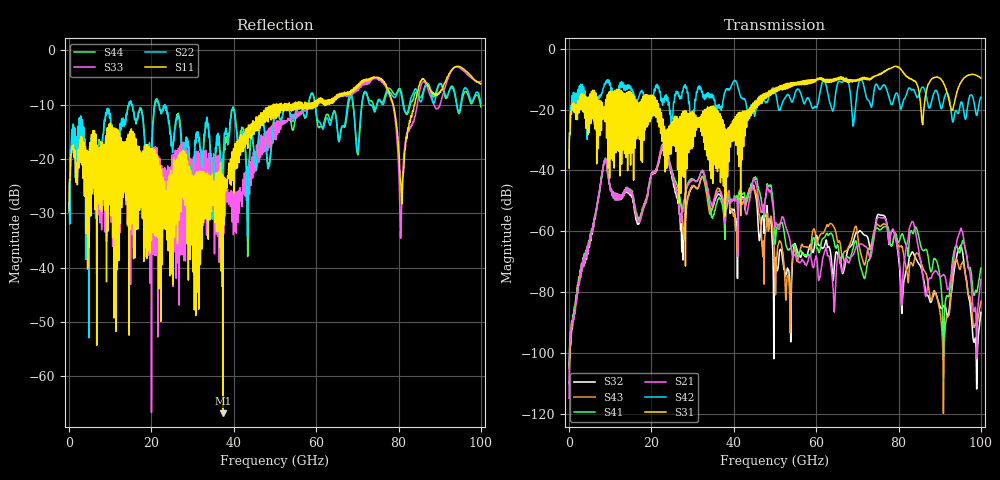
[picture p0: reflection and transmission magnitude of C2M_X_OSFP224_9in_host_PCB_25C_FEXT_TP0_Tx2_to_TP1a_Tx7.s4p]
# GHz S RI R 45
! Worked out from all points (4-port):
!   4000 points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, 25 MHz to 100 GHz, reference 45 ohm
!   strongest paths, dB at 25 MHz, 25.02 GHz, 50.02 GHz, 75.03 GHz, 100 GHz:
!     S31: -39.2, -23.9, -12.9, -8.7, -9.6
!     S42: -37.9, -22.2, -13.8, -12.5, -15.9
!     S21: -114.9, -41.3, -58.7, -55.4, -75.8
!     S41: -104.0, -40.1, -63.0, -59.1, -72.1
!     S43: -110.1, -41.4, -73.7, -57.9, -83.0
!     S32: -105.1, -42.6, -70.1, -54.5, -86.6
!   lowest |S11| = -66.8 dB at 37.33 GHz (marker M1), VSWR 1.00, Z = 45 + j0.0334 ohm
!   |S11| at or under -10 dB: start of sweep to 49.59 GHz; 51.57 GHz to 52.23 GHz (654.9 MHz wide, 1.26 % of centre); 78.73 GHz to 83.81 GHz (5.087 GHz wide, 6.26 % of centre)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
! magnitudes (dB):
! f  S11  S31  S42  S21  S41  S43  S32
! 25 MHz  -29.5  -39.2  -37.9  -114.9  -104.0  -110.1  -105.1
! 8.7 GHz  -27.8  -22.6  -11.6  -36.6  -36.3  -36.3  -36.6
! 37.33 GHz  -66.8  -23.4  -17.5  -49.1  -52.4  -49.6  -49.8
! 53.42 GHz  -9.7  -11.7  -15.4  -61.9  -66.2  -76.4  -73.8
! 75.45 GHz  -5.0  -8.5  -13.4  -55.5  -59.6  -58.3  -54.6
! 80.58 GHz  -24.7  -6.9  -19.9  -77.2  -61.5  -64.8  -79.3
! 100 GHz  -6.1  -9.6  -15.9  -75.8  -72.1  -83.0  -86.6
